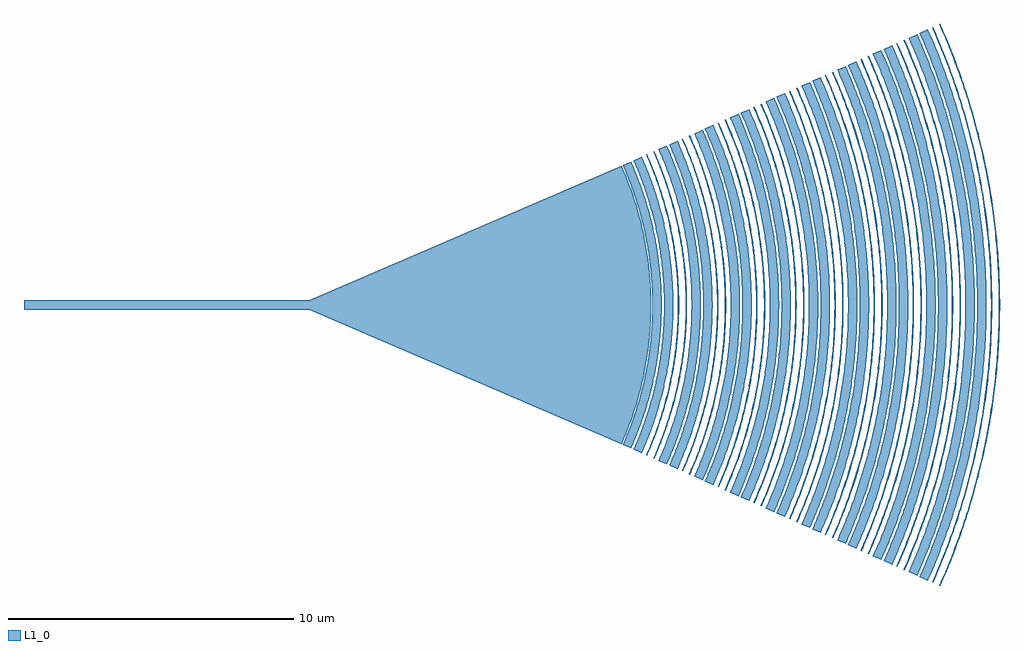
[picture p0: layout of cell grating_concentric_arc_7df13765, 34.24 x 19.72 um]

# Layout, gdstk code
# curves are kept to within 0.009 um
import gdstk
lib = gdstk.Library(unit=1e-6, precision=1e-09)
def R(c, l, rs):  # rectangles x0, y0, x1, y1
    for r in rs: c.add(gdstk.rectangle(r[:2], r[2:], *l))
def P(c, l, *ps):  # polygons
    for p in ps: c.add(gdstk.Polygon(p, *l))
L1_0 = (1, 0)

straight_3aa2beef = lib.new_cell('straight_3aa2beef')
R(straight_3aa2beef, L1_0, [(0,-0.175,10,0.175)])

ring_7a45edb4_transform_ = lib.new_cell('ring_7a45edb4_transform_14bac26b')
P(ring_7a45edb4_transform_, L1_0, [(11.003,-4.899),(11.194,-4.447),(11.411,-3.855),(11.578,-3.32),(11.72,-2.778),(11.862,-2.092),(11.937,-1.607),(11.999,-1.05),(12.035,-0.49),(12.043,0.21),(12.005,0.98),(11.937,1.607),(11.81,2.367),(11.67,2.982),(11.498,3.588),(11.245,4.316),(11.003,4.899),(11.298,5.03),(11.572,4.365),(11.806,3.685),(11.983,3.062),(12.154,2.289),(12.257,1.65),(12.332,0.934),(12.366,0.216),(12.36,-0.432),(12.3,-1.293),(12.204,-2.006),(12.051,-2.782),(11.848,-3.547),(11.572,-4.365),(11.298,-5.03)])

ring_3b7b74d8_transform_ = lib.new_cell('ring_3b7b74d8_transform_7a1867fa')
P(ring_3b7b74d8_transform_, L1_0, [(11.38,-5.067),(11.603,-4.532),(11.801,-3.987),(11.994,-3.364),(12.121,-2.873),(12.241,-2.306),(12.355,-1.59),(12.421,-0.941),(12.449,-0.435),(12.455,0.217),(12.421,0.941),(12.355,1.59),(12.228,2.377),(12.087,3.014),(11.891,3.711),(11.655,4.396),(11.38,5.067),(11.675,5.198),(11.931,4.58),(12.177,3.878),(12.382,3.164),(12.545,2.438),(12.675,1.631),(12.743,0.966),(12.778,0.223),(12.772,-0.446),(12.717,-1.262),(12.61,-2.073),(12.452,-2.875),(12.243,-3.665),(12.009,-4.371),(11.675,-5.198)])

ring_b9cacf49_transform_ = lib.new_cell('ring_b9cacf49_transform_85ada3e4')
P(ring_b9cacf49_transform_, L1_0, [(11.822,-5.264),(11.942,-4.987),(12.082,-4.638),(12.308,-3.999),(12.419,-3.639),(12.5,-3.349),(12.575,-3.058),(12.674,-2.617),(12.782,-2.024),(12.845,-1.577),(12.878,-1.278),(12.91,-0.903),(12.927,-0.602),(12.941,-0.075),(12.938,0.301),(12.927,0.602),(12.91,0.903),(12.878,1.278),(12.845,1.577),(12.782,2.024),(12.689,2.543),(12.557,3.131),(12.376,3.784),(12.284,4.071),(12.135,4.497),(11.999,4.848),(11.822,5.264),(11.859,5.28),(12.008,4.933),(12.119,4.652),(12.224,4.369),(12.346,4.011),(12.436,3.723),(12.539,3.36),(12.614,3.067),(12.698,2.699),(12.771,2.329),(12.833,1.956),(12.875,1.657),(12.918,1.282),(12.95,0.906),(12.967,0.604),(12.978,0.302),(12.981,-0.076),(12.976,-0.378),(12.955,-0.83),(12.902,-1.432),(12.855,-1.807),(12.797,-2.18),(12.682,-2.773),(12.596,-3.14),(12.499,-3.505),(12.392,-3.868),(12.274,-4.226),(12.092,-4.722),(11.92,-5.142),(11.859,-5.28)])

ring_b3538e02_transform_ = lib.new_cell('ring_b3538e02_transform_3066aef2')
P(ring_b3538e02_transform_, L1_0, [(12.073,-5.375),(12.195,-5.093),(12.338,-4.736),(12.445,-4.448),(12.569,-4.084),(12.704,-3.643),(12.785,-3.346),(12.927,-2.748),(13.041,-2.143),(13.087,-1.839),(13.135,-1.458),(13.172,-1.075),(13.193,-0.768),(13.215,-0.154),(13.21,0.384),(13.193,0.768),(13.172,1.075),(13.135,1.458),(13.087,1.839),(13.041,2.143),(12.973,2.522),(12.894,2.898),(12.823,3.197),(12.704,3.643),(12.638,3.864),(12.545,4.157),(12.392,4.592),(12.253,4.951),(12.073,5.375),(12.11,5.392),(12.232,5.108),(12.403,4.678),(12.607,4.096),(12.721,3.728),(12.824,3.356),(12.916,2.982),(12.982,2.681),(13.041,2.378),(13.116,1.921),(13.191,1.309),(13.218,1.002),(13.245,0.54),(13.256,0),(13.248,-0.463),(13.233,-0.771),(13.212,-1.078),(13.175,-1.462),(13.127,-1.845),(13.08,-2.15),(13.027,-2.454),(12.95,-2.831),(12.862,-3.207),(12.763,-3.58),(12.654,-3.949),(12.533,-4.316),(12.403,-4.678),(12.172,-5.25),(12.11,-5.392)])

ring_cfef321b_transform_ = lib.new_cell('ring_cfef321b_transform_a1948c74')
P(ring_cfef321b_transform_, L1_0, [(12.257,-5.457),(12.498,-4.881),(12.761,-4.146),(12.94,-3.548),(13.091,-2.942),(13.227,-2.253),(13.327,-1.558),(13.385,-0.936),(13.412,-0.39),(13.412,0.39),(13.373,1.092),(13.287,1.867),(13.156,2.637),(13,3.322),(12.761,4.146),(12.498,4.881),(12.257,5.457),(12.552,5.589),(12.828,4.924),(13.116,4.094),(13.332,3.324),(13.488,2.622),(13.628,1.754),(13.695,1.118),(13.738,0.24),(13.732,-0.48),(13.681,-1.277),(13.571,-2.149),(13.406,-3.013),(13.186,-3.864),(12.912,-4.699),(12.552,-5.589)])

ring_9ded270d_transform_ = lib.new_cell('ring_9ded270d_transform_436470cb')
P(ring_9ded270d_transform_, L1_0, [(12.634,-5.625),(12.882,-5.031),(13.102,-4.426),(13.294,-3.812),(13.475,-3.111),(13.605,-2.481),(13.706,-1.845),(13.777,-1.205),(13.821,-0.483),(13.821,0.483),(13.777,1.205),(13.695,1.925),(13.56,2.718),(13.399,3.424),(13.177,4.197),(12.911,4.956),(12.634,5.625),(12.929,5.756),(13.212,5.072),(13.51,4.216),(13.732,3.424),(13.908,2.619),(14.026,1.888),(14.112,1.069),(14.15,0.247),(14.144,-0.494),(14.075,-1.479),(13.965,-2.295),(13.771,-3.264),(13.558,-4.059),(13.299,-4.84),(12.929,-5.756)])

ring_144bad2d_transform_ = lib.new_cell('ring_144bad2d_transform_9edf2144')
P(ring_144bad2d_transform_, L1_0, [(13.076,-5.822),(13.272,-5.362),(13.393,-5.052),(13.507,-4.739),(13.639,-4.344),(13.826,-3.705),(13.909,-3.382),(14.001,-2.976),(14.082,-2.568),(14.138,-2.239),(14.197,-1.827),(14.244,-1.413),(14.29,-0.832),(14.308,-0.416),(14.314,-0.083),(14.302,0.583),(14.285,0.915),(14.252,1.33),(14.217,1.662),(14.163,2.075),(14.111,2.404),(14.035,2.813),(13.889,3.463),(13.782,3.865),(13.664,4.265),(13.507,4.739),(13.393,5.052),(13.272,5.362),(13.076,5.822),(13.113,5.838),(13.245,5.532),(13.401,5.144),(13.545,4.752),(13.651,4.436),(13.775,4.037),(13.865,3.715),(13.948,3.391),(14.023,3.066),(14.106,2.657),(14.164,2.328),(14.237,1.832),(14.284,1.417),(14.325,0.918),(14.342,0.584),(14.352,0.251),(14.354,-0.084),(14.348,-0.417),(14.325,-0.918),(14.292,-1.334),(14.257,-1.666),(14.19,-2.163),(14.136,-2.493),(14.005,-3.148),(13.928,-3.473),(13.775,-4.037),(13.677,-4.356),(13.545,-4.752),(13.34,-5.3),(13.147,-5.762),(13.113,-5.838)])

ring_da113401_transform_ = lib.new_cell('ring_da113401_transform_f13af76d')
P(ring_da113401_transform_, L1_0, [(13.327,-5.934),(13.589,-5.307),(13.766,-4.83),(13.848,-4.589),(13.999,-4.103),(14.113,-3.694),(14.195,-3.364),(14.287,-2.95),(14.352,-2.617),(14.422,-2.198),(14.469,-1.862),(14.517,-1.44),(14.553,-1.018),(14.568,-0.763),(14.588,-0.085),(14.586,0.255),(14.576,0.594),(14.553,1.018),(14.517,1.44),(14.469,1.862),(14.422,2.198),(14.367,2.533),(14.304,2.867),(14.155,3.529),(14.069,3.858),(13.951,4.265),(13.821,4.669),(13.679,5.069),(13.526,5.465),(13.327,5.934),(13.364,5.95),(13.531,5.559),(13.657,5.242),(13.886,4.601),(14.014,4.195),(14.108,3.868),(14.194,3.539),(14.309,3.041),(14.376,2.708),(14.435,2.372),(14.498,1.952),(14.557,1.444),(14.593,1.02),(14.616,0.596),(14.628,-0.085),(14.622,-0.425),(14.604,-0.851),(14.573,-1.275),(14.539,-1.614),(14.498,-1.952),(14.435,-2.372),(14.376,-2.708),(14.291,-3.125),(14.194,-3.539),(14.108,-3.868),(13.989,-4.277),(13.859,-4.682),(13.657,-5.242),(13.432,-5.794),(13.364,-5.95)])

ring_bfb3e922_transform_ = lib.new_cell('ring_bfb3e922_transform_cd873d73')
P(ring_bfb3e922_transform_, L1_0, [(13.511,-6.016),(13.777,-5.38),(14.012,-4.734),(14.217,-4.077),(14.411,-3.327),(14.55,-2.653),(14.669,-1.888),(14.748,-1.118),(14.784,-0.43),(14.784,0.43),(14.734,1.289),(14.634,2.144),(14.502,2.906),(14.308,3.745),(14.066,4.57),(13.808,5.3),(13.511,6.016),(13.806,6.147),(14.14,5.334),(14.427,4.503),(14.62,3.827),(14.801,3.056),(14.966,2.103),(15.063,1.23),(15.104,0.527),(15.109,-0.352),(15.063,-1.23),(14.966,-2.103),(14.801,-3.056),(14.575,-3.996),(14.427,-4.503),(14.261,-5.003),(14.045,-5.58),(13.806,-6.147)])

ring_eb5c23c9_transform_ = lib.new_cell('ring_eb5c23c9_transform_8815f4fb')
P(ring_eb5c23c9_transform_, L1_0, [(13.888,-6.183),(14.224,-5.365),(14.458,-4.698),(14.661,-4.02),(14.832,-3.333),(14.971,-2.64),(15.089,-1.853),(15.165,-1.06),(15.198,-0.354),(15.193,0.531),(15.152,1.237),(15.054,2.116),(14.923,2.901),(14.729,3.763),(14.512,4.529),(14.224,5.365),(13.888,6.183),(14.183,6.315),(14.494,5.564),(14.793,4.711),(15.042,3.843),(15.24,2.962),(15.374,2.161),(15.466,1.353),(15.521,0.361),(15.521,-0.361),(15.466,-1.353),(15.348,-2.339),(15.186,-3.228),(14.948,-4.192),(14.793,-4.711),(14.589,-5.31),(14.183,-6.315)])

ring_a2490e1b_transform_ = lib.new_cell('ring_a2490e1b_transform_61700e9e')
P(ring_a2490e1b_transform_, L1_0, [(14.33,-6.38),(14.51,-5.961),(14.645,-5.622),(14.802,-5.193),(14.947,-4.761),(15.028,-4.499),(15.152,-4.06),(15.264,-3.618),(15.344,-3.261),(15.479,-2.544),(15.534,-2.183),(15.601,-1.64),(15.642,-1.185),(15.67,-0.73),(15.687,0),(15.67,0.73),(15.642,1.185),(15.601,1.64),(15.521,2.273),(15.464,2.634),(15.381,3.083),(15.305,3.44),(15.221,3.795),(15.028,4.499),(14.861,5.021),(14.709,5.451),(14.51,5.961),(14.33,6.38),(14.367,6.397),(14.512,6.061),(14.682,5.636),(14.84,5.207),(14.957,4.86),(15.092,4.423),(15.191,4.07),(15.303,3.627),(15.383,3.27),(15.472,2.821),(15.533,2.46),(15.574,2.189),(15.641,1.644),(15.682,1.188),(15.71,0.732),(15.727,0),(15.71,-0.732),(15.682,-1.188),(15.641,-1.644),(15.574,-2.189),(15.533,-2.46),(15.472,-2.821),(15.364,-3.359),(15.26,-3.805),(15.167,-4.159),(14.985,-4.773),(14.87,-5.12),(14.715,-5.55),(14.512,-6.061),(14.367,-6.397)])

ring_d0d91fc5_transform_ = lib.new_cell('ring_d0d91fc5_transform_1bc7e8c2')
P(ring_d0d91fc5_transform_, L1_0, [(14.581,-6.492),(14.764,-6.065),(14.901,-5.72),(15.03,-5.372),(15.18,-4.932),(15.317,-4.489),(15.393,-4.221),(15.487,-3.861),(15.593,-3.409),(15.668,-3.045),(15.75,-2.588),(15.806,-2.221),(15.853,-1.853),(15.892,-1.484),(15.934,-0.928),(15.948,-0.65),(15.961,-0.093),(15.957,0.371),(15.944,0.743),(15.892,1.484),(15.853,1.853),(15.806,2.221),(15.75,2.588),(15.65,3.137),(15.593,3.409),(15.487,3.861),(15.393,4.221),(15.263,4.667),(15.151,5.02),(14.934,5.633),(14.764,6.065),(14.581,6.492),(14.618,6.508),(14.905,5.821),(15.068,5.385),(15.218,4.945),(15.329,4.589),(15.456,4.141),(15.548,3.781),(15.632,3.418),(15.725,2.962),(15.804,2.503),(15.882,1.95),(15.923,1.58),(15.962,1.116),(15.984,0.744),(15.999,0.279),(16.001,-0.093),(15.997,-0.372),(15.974,-0.93),(15.932,-1.487),(15.893,-1.858),(15.832,-2.319),(15.774,-2.687),(15.725,-2.962),(15.612,-3.509),(15.526,-3.871),(15.407,-4.321),(15.218,-4.945),(15.099,-5.297),(14.905,-5.821),(14.692,-6.338),(14.618,-6.508)])

ring_fab996f9_transform_ = lib.new_cell('ring_fab996f9_transform_5740320b')
P(ring_fab996f9_transform_, L1_0, [(14.765,-6.574),(15.123,-5.704),(15.372,-4.995),(15.612,-4.183),(15.79,-3.452),(15.949,-2.621),(16.042,-1.97),(16.109,-1.315),(16.156,-0.47),(16.156,0.47),(16.109,1.315),(16.018,2.156),(15.866,3.084),(15.683,3.91),(15.429,4.815),(15.123,5.704),(14.765,6.574),(15.06,6.705),(15.425,5.818),(15.737,4.912),(15.996,3.988),(16.183,3.146),(16.312,2.389),(16.431,1.341),(16.479,0.479),(16.479,-0.479),(16.423,-1.437),(16.312,-2.389),(16.125,-3.428),(15.873,-4.452),(15.737,-4.912),(15.524,-5.548),(15.321,-6.087),(15.06,-6.705)])

ring_702838b0_transform_ = lib.new_cell('ring_702838b0_transform_4e802b15')
P(ring_702838b0_transform_, L1_0, [(15.142,-6.742),(15.439,-6.03),(15.703,-5.305),(15.933,-4.569),(16.15,-3.728),(16.306,-2.973),(16.439,-2.116),(16.52,-1.348),(16.568,-0.482),(16.568,0.482),(16.52,1.348),(16.4,2.402),(16.27,3.163),(16.059,4.103),(15.822,4.938),(15.508,5.85),(15.142,6.742),(15.437,6.873),(15.775,6.056),(16.101,5.128),(16.372,4.183),(16.568,3.321),(16.747,2.254),(16.842,1.375),(16.893,0.393),(16.893,-0.393),(16.842,-1.375),(16.772,-2.059),(16.705,-2.546),(16.508,-3.609),(16.27,-4.563),(16.071,-5.222),(15.879,-5.779),(15.704,-6.239),(15.437,-6.873)])

ring_9e1d14e7_transform_ = lib.new_cell('ring_9e1d14e7_transform_b87edd82')
P(ring_9e1d14e7_transform_, L1_0, [(15.584,-6.939),(15.742,-6.574),(15.926,-6.113),(16.097,-5.648),(16.224,-5.272),(16.343,-4.893),(16.452,-4.511),(16.576,-4.031),(16.666,-3.644),(16.783,-3.06),(16.849,-2.669),(16.907,-2.276),(16.966,-1.783),(17.003,-1.388),(17.036,-0.893),(17.055,-0.397),(17.059,-0.099),(17.057,0.298),(17.041,0.794),(17.018,1.19),(16.976,1.684),(16.92,2.177),(16.879,2.472),(16.817,2.865),(16.727,3.352),(16.644,3.741),(16.528,4.223),(16.452,4.511),(16.314,4.988),(16.162,5.46),(15.996,5.928),(15.78,6.482),(15.584,6.939),(15.621,6.955),(15.779,6.59),(15.964,6.128),(16.168,5.567),(16.293,5.189),(16.409,4.809),(16.517,4.426),(16.615,4.04),(16.726,3.555),(16.804,3.165),(16.889,2.675),(16.947,2.281),(17.006,1.787),(17.058,1.193),(17.081,0.796),(17.095,0.398),(17.099,-0.099),(17.095,-0.398),(17.076,-0.895),(17.043,-1.391),(17.006,-1.787),(16.947,-2.281),(16.889,-2.675),(16.804,-3.165),(16.705,-3.652),(16.615,-4.04),(16.491,-4.522),(16.323,-5.094),(16.168,-5.567),(15.964,-6.128),(15.779,-6.59),(15.621,-6.955)])

ring_dc1c8143_transform_ = lib.new_cell('ring_dc1c8143_transform_52f92b3b')
P(ring_dc1c8143_transform_, L1_0, [(15.835,-7.05),(15.995,-6.68),(16.146,-6.306),(16.322,-5.834),(16.454,-5.452),(16.576,-5.068),(16.717,-4.584),(16.843,-4.095),(16.955,-3.604),(17.034,-3.208),(17.136,-2.612),(17.192,-2.212),(17.239,-1.812),(17.284,-1.31),(17.31,-0.907),(17.329,-0.403),(17.334,0),(17.329,0.403),(17.31,0.907),(17.284,1.31),(17.249,1.712),(17.192,2.212),(17.151,2.512),(17.07,3.01),(16.996,3.406),(16.912,3.801),(16.819,4.193),(16.717,4.584),(16.576,5.068),(16.422,5.548),(16.218,6.118),(15.995,6.68),(15.835,7.05),(15.872,7.067),(16.032,6.695),(16.22,6.226),(16.394,5.752),(16.492,5.465),(16.615,5.08),(16.782,4.497),(16.882,4.105),(16.973,3.711),(17.074,3.216),(17.144,2.818),(17.232,2.218),(17.279,1.816),(17.324,1.313),(17.35,0.909),(17.369,0.404),(17.374,0),(17.369,-0.404),(17.35,-0.909),(17.324,-1.313),(17.279,-1.816),(17.232,-2.218),(17.144,-2.818),(17.074,-3.216),(16.973,-3.711),(16.858,-4.203),(16.728,-4.692),(16.615,-5.08),(16.46,-5.561),(16.256,-6.132),(15.993,-6.788),(15.872,-7.067)])

ring_62381076_transform_ = lib.new_cell('ring_62381076_transform_4ab2708c')
P(ring_62381076_transform_, L1_0, [(16.019,-7.132),(16.371,-6.284),(16.645,-5.516),(16.884,-4.735),(17.109,-3.845),(17.269,-3.045),(17.405,-2.137),(17.493,-1.223),(17.531,-0.408),(17.525,0.612),(17.469,1.528),(17.365,2.44),(17.173,3.546),(16.964,4.44),(16.677,5.419),(16.371,6.284),(16.019,7.132),(16.314,7.264),(16.709,6.303),(17.016,5.42),(17.276,4.522),(17.51,3.509),(17.67,2.588),(17.781,1.66),(17.822,1.142),(17.851,0.519),(17.856,-0.312),(17.815,-1.246),(17.699,-2.382),(17.605,-2.999),(17.51,-3.509),(17.401,-4.017),(17.25,-4.622),(17.047,-5.321),(16.817,-6.01),(16.597,-6.593),(16.314,-7.264)])

ring_feb716d9_transform_ = lib.new_cell('ring_feb716d9_transform_04a5815d')
P(ring_feb716d9_transform_, L1_0, [(16.396,-7.3),(16.718,-6.529),(17.069,-5.546),(17.281,-4.847),(17.511,-3.935),(17.693,-3.014),(17.814,-2.187),(17.904,-1.252),(17.945,-0.313),(17.94,0.522),(17.911,1.148),(17.87,1.668),(17.758,2.601),(17.577,3.629),(17.363,4.544),(17.101,5.447),(16.755,6.432),(16.396,7.3),(16.691,7.431),(17.095,6.448),(17.409,5.545),(17.702,4.523),(17.893,3.695),(18.062,2.753),(18.147,2.121),(18.201,1.592),(18.263,0.531),(18.268,-0.319),(18.251,-0.85),(18.21,-1.486),(18.107,-2.437),(17.935,-3.486),(17.802,-4.11),(17.648,-4.729),(17.441,-5.443),(17.205,-6.149),(16.94,-6.844),(16.691,-7.431)])

ring_ff62c186_transform_ = lib.new_cell('ring_ff62c186_transform_848db75d')
P(ring_ff62c186_transform_, L1_0, [(16.838,-7.497),(16.967,-7.202),(17.208,-6.605),(17.393,-6.102),(17.53,-5.696),(17.658,-5.286),(17.804,-4.771),(17.91,-4.355),(18.007,-3.937),(18.073,-3.622),(18.188,-2.989),(18.253,-2.565),(18.331,-1.927),(18.371,-1.5),(18.407,-0.965),(18.421,-0.643),(18.432,-0.107),(18.427,0.429),(18.412,0.858),(18.387,1.286),(18.342,1.82),(18.253,2.565),(18.152,3.201),(18.073,3.622),(17.96,4.146),(17.858,4.563),(17.776,4.874),(17.627,5.389),(17.428,6.001),(17.246,6.505),(17.09,6.905),(16.838,7.497),(16.875,7.513),(17.004,7.218),(17.245,6.62),(17.395,6.217),(17.568,5.708),(17.727,5.195),(17.815,4.885),(17.949,4.364),(18.046,3.946),(18.133,3.525),(18.228,2.996),(18.307,2.464),(18.371,1.931),(18.411,1.503),(18.447,0.967),(18.467,0.43),(18.472,-0.107),(18.461,-0.645),(18.447,-0.967),(18.411,-1.503),(18.371,-1.931),(18.307,-2.464),(18.228,-2.996),(18.133,-3.525),(18.046,-3.946),(17.949,-4.364),(17.815,-4.885),(17.665,-5.401),(17.466,-6.014),(17.245,-6.62),(17.004,-7.218),(16.875,-7.513)])

ring_fd512b4f_transform_ = lib.new_cell('ring_fd512b4f_transform_c6160764')
P(ring_fd512b4f_transform_, L1_0, [(17.089,-7.609),(17.303,-7.108),(17.464,-6.704),(17.615,-6.296),(17.791,-5.781),(17.951,-5.261),(18.069,-4.842),(18.177,-4.42),(18.275,-3.996),(18.363,-3.569),(18.459,-3.034),(18.539,-2.496),(18.592,-2.064),(18.635,-1.63),(18.675,-1.088),(18.695,-0.653),(18.706,-0.109),(18.701,0.435),(18.681,0.979),(18.653,1.413),(18.615,1.847),(18.567,2.28),(18.493,2.819),(18.441,3.141),(18.342,3.676),(18.227,4.208),(18.124,4.631),(17.982,5.156),(17.857,5.573),(17.687,6.09),(17.503,6.602),(17.303,7.108),(17.089,7.609),(17.126,7.625),(17.34,7.124),(17.462,6.82),(17.653,6.309),(17.829,5.793),(17.959,5.377),(18.108,4.852),(18.216,4.429),(18.337,3.898),(18.442,3.363),(18.516,2.933),(18.579,2.501),(18.644,1.96),(18.693,1.416),(18.721,0.981),(18.744,0.327),(18.746,-0.109),(18.735,-0.654),(18.715,-1.09),(18.693,-1.416),(18.644,-1.96),(18.579,-2.501),(18.516,-2.933),(18.402,-3.577),(18.314,-4.004),(18.216,-4.429),(18.108,-4.852),(17.959,-5.377),(17.795,-5.897),(17.616,-6.412),(17.34,-7.124),(17.126,-7.625)])

ring_f01e0286_transform_ = lib.new_cell('ring_f01e0286_transform_3609f814')
P(ring_f01e0286_transform_, L1_0, [(17.273,-7.691),(17.652,-6.776),(17.983,-5.843),(18.206,-5.106),(18.448,-4.146),(18.64,-3.175),(18.767,-2.304),(18.854,-1.429),(18.903,-0.44),(18.903,0.44),(18.862,1.319),(18.793,2.086),(18.658,3.066),(18.448,4.146),(18.292,4.787),(18.114,5.423),(17.983,5.843),(17.73,6.57),(17.49,7.185),(17.273,7.691),(17.568,7.822),(17.954,6.892),(18.29,5.943),(18.576,4.977),(18.834,3.889),(19.028,2.787),(19.148,1.788),(19.192,1.23),(19.223,0.559),(19.226,-0.447),(19.205,-1.006),(19.158,-1.676),(19.044,-2.676),(18.939,-3.339),(18.834,-3.889),(18.576,-4.977),(18.391,-5.623),(18.147,-6.367),(17.831,-7.204),(17.568,-7.822)])

ring_7eb5e2a1_transform_ = lib.new_cell('ring_7eb5e2a1_transform_cb30d75e')
P(ring_7eb5e2a1_transform_, L1_0, [(17.65,-7.858),(18.037,-6.924),(18.304,-6.184),(18.572,-5.325),(18.85,-4.236),(19.027,-3.355),(19.176,-2.355),(19.265,-1.46),(19.315,-0.45),(19.315,0.45),(19.265,1.46),(19.176,2.355),(19.046,3.244),(18.921,3.907),(18.799,4.456),(18.662,5),(18.476,5.649),(18.304,6.184),(18.077,6.819),(17.65,7.858),(17.945,7.99),(18.379,6.933),(18.717,5.961),(19.032,4.863),(19.26,3.86),(19.452,2.734),(19.578,1.598),(19.635,0.571),(19.638,-0.457),(19.578,-1.598),(19.523,-2.167),(19.436,-2.847),(19.345,-3.411),(19.214,-4.084),(18.974,-5.084),(18.717,-5.961),(18.497,-6.611),(18.213,-7.358),(17.945,-7.99)])

ring_5e6b6bf2_transform_ = lib.new_cell('ring_5e6b6bf2_transform_12da7efe')
P(ring_5e6b6bf2_transform_, L1_0, [(18.092,-8.055),(18.319,-7.526),(18.53,-6.99),(18.726,-6.448),(18.871,-6.01),(18.973,-5.68),(19.13,-5.126),(19.271,-4.567),(19.372,-4.118),(19.462,-3.666),(19.561,-3.098),(19.628,-2.642),(19.684,-2.185),(19.739,-1.611),(19.771,-1.152),(19.793,-0.691),(19.805,0),(19.793,0.691),(19.771,1.152),(19.739,1.611),(19.684,2.185),(19.628,2.642),(19.561,3.098),(19.462,3.666),(19.372,4.118),(19.271,4.567),(19.13,5.126),(18.973,5.68),(18.871,6.01),(18.726,6.448),(18.53,6.99),(18.319,7.526),(18.092,8.055),(18.129,8.072),(18.443,7.327),(18.608,6.896),(18.801,6.352),(18.944,5.912),(19.108,5.359),(19.283,4.689),(19.387,4.239),(19.502,3.673),(19.582,3.218),(19.652,2.762),(19.724,2.189),(19.779,1.615),(19.818,1.039),(19.833,0.693),(19.845,0),(19.833,-0.693),(19.818,-1.039),(19.779,-1.615),(19.724,-2.189),(19.652,-2.762),(19.582,-3.218),(19.502,-3.673),(19.387,-4.239),(19.283,-4.689),(19.108,-5.359),(18.944,-5.912),(18.801,-6.352),(18.568,-7.004),(18.312,-7.648),(18.129,-8.072)])

ring_1c5b384d_transform_ = lib.new_cell('ring_1c5b384d_transform_d2d2aa63')
P(ring_1c5b384d_transform_, L1_0, [(18.343,-8.167),(18.528,-7.738),(18.703,-7.305),(18.908,-6.758),(19.06,-6.316),(19.202,-5.871),(19.395,-5.197),(19.483,-4.858),(19.616,-4.289),(19.732,-3.717),(19.832,-3.141),(19.915,-2.563),(19.969,-2.099),(20.003,-1.75),(20.045,-1.167),(20.067,-0.701),(20.079,-0.117),(20.074,0.467),(20.057,0.934),(20.022,1.517),(19.981,1.983),(19.915,2.563),(19.85,3.026),(19.774,3.487),(19.664,4.06),(19.483,4.858),(19.333,5.422),(19.202,5.871),(19.023,6.427),(18.828,6.977),(18.573,7.63),(18.343,8.167),(18.38,8.183),(18.61,7.645),(18.783,7.21),(18.985,6.661),(19.17,6.106),(19.34,5.546),(19.464,5.094),(19.577,4.64),(19.727,3.954),(19.813,3.494),(19.907,2.916),(19.955,2.568),(20.021,1.987),(20.062,1.52),(20.092,1.053),(20.114,0.468),(20.119,-0.117),(20.111,-0.585),(20.092,-1.053),(20.062,-1.52),(20.009,-2.103),(19.955,-2.568),(19.853,-3.263),(19.727,-3.954),(19.655,-4.297),(19.493,-4.981),(19.372,-5.433),(19.24,-5.882),(19.061,-6.439),(18.824,-7.101),(18.61,-7.645),(18.38,-8.183)])

ring_deb44d0e_transform_ = lib.new_cell('ring_deb44d0e_transform_6cb8f315')
P(ring_deb44d0e_transform_, L1_0, [(18.527,-8.249),(18.934,-7.268),(19.288,-6.267),(19.59,-5.249),(19.813,-4.332),(19.993,-3.405),(20.144,-2.354),(20.239,-1.297),(20.278,-0.354),(20.272,0.59),(20.223,1.532),(20.13,2.472),(19.993,3.405),(19.862,4.101),(19.707,4.792),(19.395,5.93),(19.176,6.603),(18.976,7.158),(18.527,8.249),(18.822,8.38),(19.278,7.272),(19.632,6.253),(19.902,5.333),(20.076,4.635),(20.202,4.049),(20.386,2.986),(20.515,1.915),(20.587,0.839),(20.601,-0.36),(20.545,-1.557),(20.42,-2.749),(20.331,-3.341),(20.202,-4.049),(20.076,-4.635),(19.902,-5.333),(19.668,-6.138),(19.402,-6.934),(19.148,-7.607),(18.822,-8.38)])

ring_e932c6e8_transform_ = lib.new_cell('ring_e932c6e8_transform_c709ef4d')
P(ring_e932c6e8_transform_, L1_0, [(18.904,-8.416),(19.318,-7.416),(19.68,-6.394),(19.988,-5.356),(20.215,-4.42),(20.419,-3.356),(20.553,-2.402),(20.634,-1.564),(20.69,-0.361),(20.684,0.602),(20.634,1.564),(20.553,2.402),(20.419,3.356),(20.313,3.948),(20.135,4.772),(19.988,5.356),(19.789,6.05),(19.604,6.623),(19.361,7.303),(19.141,7.863),(18.904,8.416),(19.199,8.548),(19.62,7.531),(19.831,6.958),(20.025,6.378),(20.362,5.203),(20.582,4.25),(20.794,3.046),(20.874,2.44),(20.936,1.832),(21.007,0.611),(21.01,-0.489),(20.987,-1.1),(20.936,-1.832),(20.874,-2.44),(20.794,-3.046),(20.582,-4.25),(20.3,-5.439),(20.025,-6.378),(19.831,-6.958),(19.531,-7.759),(19.199,-8.548)])

ring_da7936ce_transform_ = lib.new_cell('ring_da7936ce_transform_80e49a29')
P(ring_da7936ce_transform_, L1_0, [(19.346,-8.614),(19.542,-8.161),(19.771,-7.589),(19.942,-7.127),(20.141,-6.544),(20.323,-5.956),(20.456,-5.481),(20.578,-5.004),(20.715,-4.403),(20.834,-3.799),(20.917,-3.313),(20.988,-2.825),(21.048,-2.336),(21.097,-1.846),(21.134,-1.354),(21.16,-0.862),(21.177,-0.123),(21.172,0.493),(21.16,0.862),(21.126,1.477),(21.074,2.091),(21.004,2.703),(20.936,3.191),(20.856,3.677),(20.74,4.282),(20.635,4.764),(20.518,5.243),(20.391,5.719),(20.216,6.309),(20.024,6.895),(19.815,7.474),(19.589,8.047),(19.346,8.614),(19.383,8.63),(19.579,8.177),(19.764,7.719),(19.98,7.141),(20.141,6.674),(20.326,6.085),(20.495,5.491),(20.646,4.893),(20.754,4.411),(20.851,3.927),(20.975,3.197),(21.044,2.708),(21.114,2.095),(21.166,1.48),(21.2,0.864),(21.212,0.494),(21.217,-0.123),(21.205,-0.74),(21.182,-1.234),(21.137,-1.849),(21.088,-2.341),(21.028,-2.831),(20.937,-3.441),(20.828,-4.048),(20.728,-4.532),(20.557,-5.253),(20.396,-5.848),(20.217,-6.439),(20.062,-6.908),(19.808,-7.604),(19.579,-8.177),(19.383,-8.63)])

ring_2bc78249_transform_ = lib.new_cell('ring_2bc78249_transform_0209a586')
P(ring_2bc78249_transform_, L1_0, [(19.597,-8.725),(19.843,-8.152),(20.027,-7.688),(20.242,-7.102),(20.402,-6.629),(20.586,-6.033),(20.721,-5.552),(20.844,-5.068),(20.983,-4.46),(21.104,-3.848),(21.188,-3.356),(21.26,-2.862),(21.321,-2.366),(21.381,-1.745),(21.422,-1.123),(21.443,-0.624),(21.452,0),(21.443,0.624),(21.422,1.123),(21.381,1.745),(21.321,2.366),(21.26,2.862),(21.188,3.356),(21.104,3.848),(20.983,4.46),(20.844,5.068),(20.721,5.552),(20.586,6.033),(20.44,6.51),(20.242,7.102),(20.027,7.688),(19.843,8.152),(19.597,8.725),(19.634,8.742),(19.88,8.167),(20.019,7.819),(20.196,7.351),(20.401,6.76),(20.553,6.284),(20.727,5.683),(20.883,5.078),(20.996,4.591),(21.097,4.101),(21.187,3.609),(21.283,2.991),(21.361,2.371),(21.421,1.749),(21.469,1),(21.489,0.375),(21.492,0),(21.489,-0.375),(21.469,-1),(21.421,-1.749),(21.361,-2.371),(21.283,-2.991),(21.187,-3.609),(21.097,-4.101),(20.996,-4.591),(20.883,-5.078),(20.727,-5.683),(20.553,-6.284),(20.361,-6.879),(20.153,-7.468),(19.88,-8.167),(19.634,-8.742)])

ring_e2a1f6f5_transform_ = lib.new_cell('ring_e2a1f6f5_transform_b9f97705')
P(ring_e2a1f6f5_transform_, L1_0, [(19.781,-8.807),(20.215,-7.76),(20.594,-6.691),(20.883,-5.726),(21.154,-4.625),(21.367,-3.512),(21.507,-2.514),(21.601,-1.51),(21.648,-0.504),(21.648,0.504),(21.601,1.51),(21.507,2.514),(21.367,3.512),(21.256,4.132),(21.07,4.994),(20.916,5.604),(20.744,6.21),(20.348,7.406),(20.077,8.112),(19.781,8.807),(20.076,8.939),(20.517,7.876),(20.737,7.276),(20.94,6.669),(21.125,6.058),(21.292,5.441),(21.548,4.319),(21.643,3.816),(21.763,3.059),(21.893,1.915),(21.963,0.767),(21.973,-0.384),(21.953,-1.022),(21.914,-1.661),(21.856,-2.297),(21.763,-3.059),(21.643,-3.816),(21.548,-4.319),(21.413,-4.944),(21.228,-5.688),(21.016,-6.425),(20.737,-7.276),(20.424,-8.114),(20.076,-8.939)])

ring_f0285655_transform_ = lib.new_cell('ring_f0285655_transform_c6cc4d1c')
P(ring_f0285655_transform_, L1_0, [(20.158,-8.975),(20.554,-8.027),(20.945,-6.941),(21.246,-5.959),(21.379,-5.463),(21.556,-4.713),(21.708,-3.958),(21.794,-3.452),(21.931,-2.434),(22.012,-1.539),(22.062,-0.385),(22.056,0.642),(22.012,1.539),(21.901,2.689),(21.752,3.705),(21.61,4.462),(21.471,5.089),(21.314,5.711),(21.101,6.451),(20.905,7.062),(20.646,7.788),(20.158,8.975),(20.453,9.106),(20.709,8.507),(20.948,7.902),(21.333,6.794),(21.659,5.669),(21.815,5.036),(21.952,4.4),(22.071,3.759),(22.171,3.116),(22.303,1.951),(22.375,0.781),(22.385,-0.391),(22.358,-1.172),(22.314,-1.821),(22.252,-2.47),(22.171,-3.116),(22.071,-3.759),(21.952,-4.4),(21.815,-5.036),(21.659,-5.669),(21.41,-6.546),(21.126,-7.412),(20.807,-8.266),(20.453,-9.106)])

ring_79af54c6_transform_ = lib.new_cell('ring_79af54c6_transform_98001c68')
P(ring_79af54c6_transform_, L1_0, [(20.6,-9.172),(20.859,-8.569),(21.005,-8.204),(21.235,-7.589),(21.405,-7.093),(21.603,-6.467),(21.782,-5.836),(21.912,-5.328),(22.03,-4.817),(22.136,-4.303),(22.23,-3.787),(22.331,-3.138),(22.398,-2.618),(22.464,-1.965),(22.504,-1.442),(22.536,-0.787),(22.55,-0.131),(22.547,0.394),(22.526,1.049),(22.486,1.704),(22.44,2.227),(22.366,2.878),(22.293,3.398),(22.184,4.045),(22.084,4.56),(21.972,5.073),(21.815,5.71),(21.64,6.342),(21.487,6.843),(21.321,7.342),(21.099,7.959),(20.859,8.569),(20.6,9.172),(20.637,9.188),(20.896,8.584),(21.09,8.096),(21.316,7.479),(21.485,6.981),(21.641,6.479),(21.786,5.974),(21.951,5.337),(22.097,4.697),(22.224,4.052),(22.312,3.534),(22.422,2.753),(22.48,2.231),(22.526,1.707),(22.566,1.051),(22.587,0.394),(22.59,-0.131),(22.581,-0.657),(22.552,-1.314),(22.504,-1.969),(22.452,-2.492),(22.388,-3.014),(22.291,-3.664),(22.2,-4.181),(22.069,-4.825),(21.951,-5.337),(21.786,-5.974),(21.603,-6.605),(21.444,-7.106),(21.183,-7.85),(20.896,-8.584),(20.637,-9.188)])

ring_c41ddbcd_transform_ = lib.new_cell('ring_c41ddbcd_transform_d285a84b')
P(ring_c41ddbcd_transform_, L1_0, [(20.851,-9.284),(21.112,-8.673),(21.308,-8.18),(21.493,-7.681),(21.666,-7.179),(21.866,-6.546),(22.012,-6.036),(22.178,-5.393),(22.298,-4.875),(22.43,-4.225),(22.522,-3.702),(22.602,-3.177),(22.685,-2.518),(22.738,-1.989),(22.786,-1.327),(22.815,-0.664),(22.824,-0.133),(22.821,0.398),(22.8,1.062),(22.769,1.592),(22.713,2.254),(22.638,2.913),(22.564,3.439),(22.478,3.963),(22.353,4.615),(22.209,5.264),(22.081,5.779),(21.94,6.291),(21.788,6.8),(21.581,7.431),(21.356,8.055),(21.112,8.673),(20.851,9.284),(20.888,9.3),(21.099,8.811),(21.346,8.194),(21.531,7.695),(21.745,7.066),(21.904,6.558),(22.051,6.046),(22.217,5.402),(22.365,4.754),(22.494,4.101),(22.583,3.577),(22.66,3.05),(22.753,2.258),(22.809,1.595),(22.84,1.064),(22.855,0.665),(22.865,0),(22.855,-0.665),(22.826,-1.329),(22.778,-1.993),(22.725,-2.522),(22.642,-3.182),(22.562,-3.708),(22.444,-4.363),(22.337,-4.884),(22.217,-5.402),(22.051,-6.046),(21.904,-6.558),(21.662,-7.318),(21.393,-8.07),(21.099,-8.811),(20.888,-9.3)])

ring_516639b6_transform_ = lib.new_cell('ring_516639b6_transform_a517b55f')
P(ring_516639b6_transform_, L1_0, [(21.035,-9.366),(21.497,-8.252),(21.815,-7.37),(22.171,-6.218),(22.466,-5.049),(22.699,-3.866),(22.855,-2.806),(22.97,-1.606),(23.023,-0.402),(23.012,0.804),(22.95,1.873),(22.855,2.806),(22.699,3.866),(22.577,4.525),(22.436,5.18),(22.242,5.96),(22.059,6.604),(21.815,7.37),(21.591,8.001),(21.299,8.75),(21.035,9.366),(21.33,9.497),(21.598,8.873),(21.847,8.241),(22.248,7.086),(22.554,6.043),(22.72,5.385),(22.867,4.722),(23.018,3.921),(23.103,3.384),(23.248,2.17),(23.33,0.951),(23.348,0.272),(23.346,-0.407),(23.292,-1.629),(23.235,-2.306),(23.158,-2.98),(23.062,-3.653),(22.946,-4.322),(22.839,-4.855),(22.656,-5.649),(22.407,-6.566),(22.121,-7.473),(21.847,-8.241),(21.44,-9.248),(21.33,-9.497)])

ring_7825c032_transform_ = lib.new_cell('ring_7825c032_transform_cb4ced57')
P(ring_7825c032_transform_, L1_0, [(21.412,-9.533),(21.68,-8.906),(21.93,-8.272),(22.291,-7.243),(22.604,-6.198),(22.868,-5.139),(23.105,-3.936),(23.28,-2.721),(23.381,-1.635),(23.435,-0.409),(23.428,0.682),(23.371,1.771),(23.28,2.721),(23.105,3.936),(22.954,4.74),(22.775,5.538),(22.604,6.198),(22.414,6.853),(22.205,7.502),(21.978,8.144),(21.68,8.906),(21.412,9.533),(21.707,9.665),(22.183,8.515),(22.598,7.343),(22.841,6.549),(22.987,6.016),(23.121,5.48),(23.298,4.669),(23.424,3.99),(23.53,3.307),(23.671,2.071),(23.747,0.829),(23.761,0.138),(23.755,-0.553),(23.729,-1.244),(23.671,-2.071),(23.53,-3.307),(23.424,-3.99),(23.298,-4.669),(23.121,-5.48),(22.987,-6.016),(22.763,-6.815),(22.467,-7.736),(22.133,-8.644),(21.707,-9.665)])

ring_6049c50f_transform_ = lib.new_cell('ring_6049c50f_transform_1c0de9d4')
P(ring_6049c50f_transform_, L1_0, [(21.854,-9.73),(22.075,-9.219),(22.334,-8.573),(22.574,-7.92),(22.752,-7.393),(22.918,-6.861),(23.108,-6.192),(23.278,-5.517),(23.4,-4.974),(23.535,-4.291),(23.65,-3.605),(23.727,-3.054),(23.792,-2.501),(23.854,-1.808),(23.89,-1.252),(23.913,-0.696),(23.923,0),(23.913,0.696),(23.89,1.252),(23.854,1.808),(23.792,2.501),(23.727,3.054),(23.65,3.605),(23.535,4.291),(23.4,4.974),(23.278,5.517),(23.108,6.192),(22.918,6.861),(22.752,7.393),(22.574,7.92),(22.334,8.573),(22.075,9.219),(21.854,9.73),(21.891,9.747),(22.112,9.235),(22.421,8.457),(22.612,7.933),(22.833,7.272),(23.035,6.605),(23.182,6.067),(23.349,5.39),(23.468,4.846),(23.599,4.161),(23.668,3.749),(23.749,3.197),(23.832,2.505),(23.905,1.672),(23.93,1.254),(23.953,0.697),(23.963,0),(23.953,-0.697),(23.93,-1.254),(23.905,-1.672),(23.832,-2.505),(23.749,-3.197),(23.646,-3.886),(23.523,-4.572),(23.41,-5.118),(23.251,-5.797),(23.11,-6.337),(22.916,-7.006),(22.747,-7.537),(22.47,-8.327),(22.218,-8.977),(21.891,-9.747)])

ring_d9539391_transform_ = lib.new_cell('ring_d9539391_transform_14554164')
P(ring_d9539391_transform_, L1_0, [(22.105,-9.842),(22.382,-9.195),(22.59,-8.671),(22.833,-8.011),(23.013,-7.477),(23.181,-6.94),(23.373,-6.263),(23.512,-5.717),(23.639,-5.168),(23.753,-4.617),(23.877,-3.924),(23.981,-3.228),(24.065,-2.529),(24.117,-1.969),(24.164,-1.266),(24.187,-0.704),(24.197,-0.141),(24.191,0.563),(24.171,1.126),(24.128,1.828),(24.079,2.389),(24.017,2.949),(23.921,3.646),(23.805,4.34),(23.697,4.893),(23.577,5.443),(23.444,5.99),(23.336,6.399),(23.14,7.075),(22.879,7.878),(22.64,8.54),(22.382,9.195),(22.105,9.842),(22.142,9.858),(22.419,9.21),(22.678,8.554),(22.917,7.891),(23.051,7.49),(23.259,6.816),(23.411,6.273),(23.551,5.727),(23.708,5.039),(23.844,4.348),(23.939,3.792),(24.039,3.094),(24.119,2.393),(24.168,1.831),(24.211,1.128),(24.234,0.423),(24.237,-0.141),(24.227,-0.705),(24.188,-1.55),(24.145,-2.112),(24.089,-2.674),(24.021,-3.233),(23.939,-3.792),(23.792,-4.625),(23.678,-5.177),(23.517,-5.864),(23.337,-6.545),(23.137,-7.221),(22.917,-7.891),(22.678,-8.554),(22.365,-9.34),(22.142,-9.858)])

grating_concentric_arc_7 = lib.new_cell('grating_concentric_arc_7df13765')
P(grating_concentric_arc_7, L1_0, [(0,0.175),(0,-0.175),(10.963,-4.881),(11.203,-4.3),(11.413,-3.708),(11.564,-3.207),(11.716,-2.597),(11.818,-2.084),(11.923,-1.358),(11.978,-0.733),(12,-0.105),(11.989,0.523),(11.945,1.15),(11.868,1.774),(11.738,2.495),(11.564,3.207),(11.413,3.708),(11.203,4.3),(10.963,4.881)])
grating_concentric_arc_7.add(gdstk.Reference(straight_3aa2beef, (-10,0)))
grating_concentric_arc_7.add(gdstk.Reference(ring_7a45edb4_transform_, (0,0)))
grating_concentric_arc_7.add(gdstk.Reference(ring_3b7b74d8_transform_, (0,0)))
grating_concentric_arc_7.add(gdstk.Reference(ring_b9cacf49_transform_, (0,0)))
grating_concentric_arc_7.add(gdstk.Reference(ring_b3538e02_transform_, (0,0)))
grating_concentric_arc_7.add(gdstk.Reference(ring_cfef321b_transform_, (0,0)))
grating_concentric_arc_7.add(gdstk.Reference(ring_9ded270d_transform_, (0,0)))
grating_concentric_arc_7.add(gdstk.Reference(ring_144bad2d_transform_, (0,0)))
grating_concentric_arc_7.add(gdstk.Reference(ring_da113401_transform_, (0,0)))
grating_concentric_arc_7.add(gdstk.Reference(ring_bfb3e922_transform_, (0,0)))
grating_concentric_arc_7.add(gdstk.Reference(ring_eb5c23c9_transform_, (0,0)))
grating_concentric_arc_7.add(gdstk.Reference(ring_a2490e1b_transform_, (0,0)))
grating_concentric_arc_7.add(gdstk.Reference(ring_d0d91fc5_transform_, (0,0)))
grating_concentric_arc_7.add(gdstk.Reference(ring_fab996f9_transform_, (0,0)))
grating_concentric_arc_7.add(gdstk.Reference(ring_702838b0_transform_, (0,0)))
grating_concentric_arc_7.add(gdstk.Reference(ring_9e1d14e7_transform_, (0,0)))
grating_concentric_arc_7.add(gdstk.Reference(ring_dc1c8143_transform_, (0,0)))
grating_concentric_arc_7.add(gdstk.Reference(ring_62381076_transform_, (0,0)))
grating_concentric_arc_7.add(gdstk.Reference(ring_feb716d9_transform_, (0,0)))
grating_concentric_arc_7.add(gdstk.Reference(ring_ff62c186_transform_, (0,0)))
grating_concentric_arc_7.add(gdstk.Reference(ring_fd512b4f_transform_, (0,0)))
grating_concentric_arc_7.add(gdstk.Reference(ring_f01e0286_transform_, (0,0)))
grating_concentric_arc_7.add(gdstk.Reference(ring_7eb5e2a1_transform_, (0,0)))
grating_concentric_arc_7.add(gdstk.Reference(ring_5e6b6bf2_transform_, (0,0)))
grating_concentric_arc_7.add(gdstk.Reference(ring_1c5b384d_transform_, (0,0)))
grating_concentric_arc_7.add(gdstk.Reference(ring_deb44d0e_transform_, (0,0)))
grating_concentric_arc_7.add(gdstk.Reference(ring_e932c6e8_transform_, (0,0)))
grating_concentric_arc_7.add(gdstk.Reference(ring_da7936ce_transform_, (0,0)))
grating_concentric_arc_7.add(gdstk.Reference(ring_2bc78249_transform_, (0,0)))
grating_concentric_arc_7.add(gdstk.Reference(ring_e2a1f6f5_transform_, (0,0)))
grating_concentric_arc_7.add(gdstk.Reference(ring_f0285655_transform_, (0,0)))
grating_concentric_arc_7.add(gdstk.Reference(ring_79af54c6_transform_, (0,0)))
grating_concentric_arc_7.add(gdstk.Reference(ring_c41ddbcd_transform_, (0,0)))
grating_concentric_arc_7.add(gdstk.Reference(ring_516639b6_transform_, (0,0)))
grating_concentric_arc_7.add(gdstk.Reference(ring_7825c032_transform_, (0,0)))
grating_concentric_arc_7.add(gdstk.Reference(ring_6049c50f_transform_, (0,0)))
grating_concentric_arc_7.add(gdstk.Reference(ring_d9539391_transform_, (0,0)))

lib.write_gds('grating_concentric_arc_7df13765.gds')
